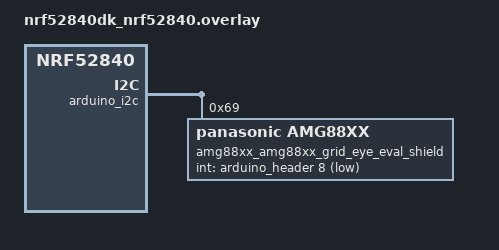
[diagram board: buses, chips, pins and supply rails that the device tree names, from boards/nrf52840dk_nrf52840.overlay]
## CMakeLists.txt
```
cmake_minimum_required(VERSION 3.20.0)
find_package(Zephyr REQUIRED HINTS $ENV{ZEPHYR_BASE})
project(base_nrf52840dk)

file(GLOB MYLIB ../../mylib/scan_adv.c ../../mylib/json_uart.c)

include_directories(../../include/)

target_sources(app PRIVATE src/main.c ${MYLIB})

zephyr_library_include_directories(${ZEPHYR_BASE}/samples/bluetooth)
```

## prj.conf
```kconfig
CONFIG_BT=y
CONFIG_BT_BROADCASTER=y
CONFIG_BT_OBSERVER=y

CONFIG_BOOT_BANNER=n

CONFIG_HEAP_MEM_POOL_SIZE=256
CONFIG_SERIAL=y
CONFIG_UART_INTERRUPT_DRIVEN=y
CONFIG_JSON_LIBRARY=y
CONFIG_CBPRINTF_FP_SUPPORT=y

CONFIG_I2C=y
CONFIG_SENSOR=y
```

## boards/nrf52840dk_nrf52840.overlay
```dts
&arduino_i2c {
	status = "okay";
	amg88xx_amg88xx_grid_eye_eval_shield: amg88xx@68 {
		compatible = "panasonic,amg88xx";
		reg = <0x69>;
		int-gpios = <&arduino_header 8 (GPIO_ACTIVE_LOW | GPIO_PULL_UP)>;
		status = "okay";
	};
};
```

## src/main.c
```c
#include "json_uart.h" // Include header file for JSON UART functionality
#include "scan_adv.h" // Include header file for scanning and advertising functionality
#include <zephyr/kernel.h> // Include Zephyr kernel header for threading

#define UART_PRIORITY 7      // Priority level for UART thread
#define SCAN_ADV_PRIORITY 7  // Priority level for scan/advertise thread
#define SEND_JSON_PRIORITY 7 // Priority level for JSON sending thread
#define STACKSIZE 2048       // Stack size for each thread

// Define a thread for UART handling
K_THREAD_DEFINE(uart_thread_id, STACKSIZE, uart_thread, NULL, NULL, NULL,
                UART_PRIORITY, 0, 0);

// Define a thread for scanning and advertising operations
K_THREAD_DEFINE(scan_adv_thread_id, STACKSIZE, scan_adv_thread, NULL, NULL,
                NULL, SCAN_ADV_PRIORITY, 0, 0);

// Define a thread for sending JSON data
K_THREAD_DEFINE(send_json_thread_id, STACKSIZE, send_json_thread, NULL, NULL,
                NULL, SEND_JSON_PRIORITY, 0, 0);
```
